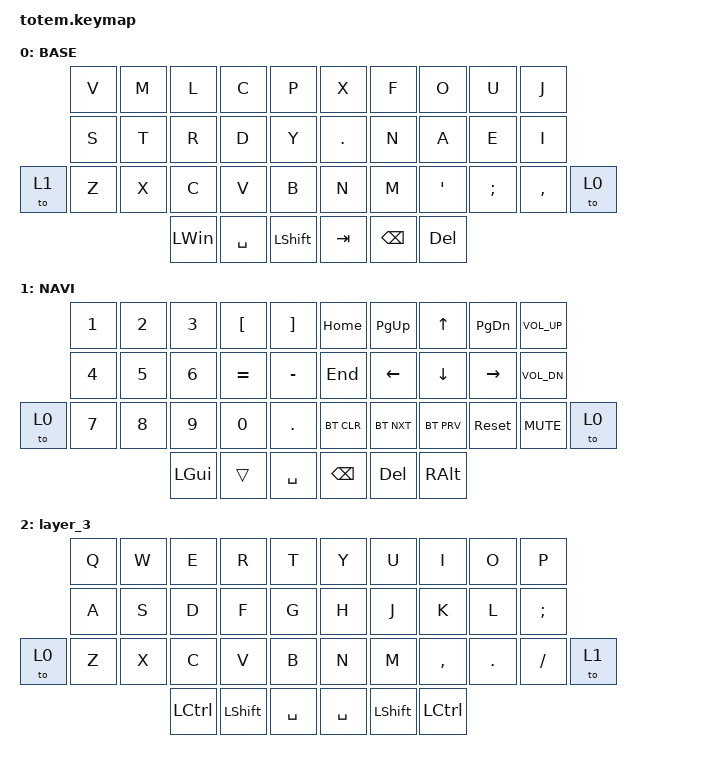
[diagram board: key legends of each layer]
//
//                                                        ▀▀▀▀▀     ▀▀▀▀▀          ▀▀█▀▀
//                                                        ▄▀▀▀▄  ▄  ▄▀▀▀▄  ▄  ▄▀▀▀▄  █  ▄▀▀▀▄
//                                                        █   █  █  █   █  █  █   █  █  █   █
//                                                         ▀▀▀   █   ▀▀▀   █   ▀▀▀   ▀   ▀▀▀
//                                                               █      ▄▄▄█▄▄▄    █   █  
//                                                               ▀      █  █  █     █▄█
//                                                             ▀▀▀▀▀    █  █  █      ▀
//                                                                      ▀  ▀  ▀
//
// ▄▄▄▄▄▄▄▄▄▄▄▄▄▄▄▄▄▄▄▄▄▄▄▄▄▄▄▄▄▄▄▄▄▄▄▄▄▄▄▄▄▄▄▄▄▄▄▄▄▄▄▄▄▄▄▄▄▄▄▄▄▄▄▄▄▄▄▄▄▄▄▄▄▄▄▄▄▄▄▄▄▄▄▄▄▄▄▄▄▄▄▄▄▄▄▄▄▄▄▄▄▄▄▄▄▄▄▄▄▄▄▄▄▄▄▄▄▄▄▄▄▄▄▄▄▄▄▄▄▄▄▄▄▄▄▄▄▄▄▄▄▄▄▄▄▄▄▄▄

#include <behaviors.dtsi>
#include <dt-bindings/zmk/bt.h>
#include <dt-bindings/zmk/keys.h>

#define BASE 0
#define NAV  1
#define SYM  2
#define ADJ  3
#define TVP1 4
#define TVP2 5

/ {
    combos { compatible = "zmk,combos"; };

    keymap {
        compatible = "zmk,keymap";

        // ▄▄▄▄▄▄▄▄▄▄▄▄▄▄▄▄▄▄▄▄▄▄▄▄▄▄▄▄▄▄▄▄▄▄▄▄▄▄▄▄▄▄▄▄▄▄▄▄▄▄▄▄▄▄▄▄▄▄▄▄▄▄▄▄▄▄▄▄▄▄▄▄▄▄▄▄▄▄▄▄▄▄▄▄▄▄▄▄▄▄▄▄▄▄▄▄▄▄▄▄▄▄▄▄▄▄▄▄▄▄▄▄▄▄▄▄▄▄▄▄▄▄▄▄▄▄▄▄▄▄▄▄▄▄▄▄▄▄▄▄▄▄▄▄▄▄▄▄▄

        base_layer {
            // ┏━━━━━━━━━━━━━━━━━━━━━━━━━━━━━━━━━━━━━━━┓

            label = "BASE";

            // ┗━━━━━━━━━━━━━━━━━━━━━━━━━━━━━━━━━━━━━━━┛
            //             ┏━━━━━━━━━━━┳━━━━━━━━━━━┳━━━━━━━━━━━┳━━━━━━━━━━━┳━━━━━━━━━━━┓   ┏━━━━━━━━━━━┳━━━━━━━━━━━┳━━━━━━━━━━━┳━━━━━━━━━━━┳━━━━━━━━━━━┓
            //             ┃     Q     ┃     W     ┃     F     ┃     P     ┃     G     ┃   ┃     J     ┃     L     ┃     U     ┃     Y     ┃     ;     ┃
            //             ┣━━━━━━━━━━━╋━━━━━━━━━━━╋━━━━━━━━━━━╋━━━━━━━━━━━╋━━━━━━━━━━━┫   ┣━━━━━━━━━━━╋━━━━━━━━━━━╋━━━━━━━━━━━╋━━━━━━━━━━━╋━━━━━━━━━━━┫
            //             ┃     A     ┃     R     ┃     S     ┃     T     ┃     D     ┃   ┃     H     ┃     N     ┃     E     ┃     I     ┃     O     ┃
            // ┏━━━━━━━━━━━╋━━━━━━━━━━━╋━━━━━━━━━━━╋━━━━━━━━━━━╋━━━━━━━━━━━╋━━━━━━━━━━━┫   ┣━━━━━━━━━━━╋━━━━━━━━━━━╋━━━━━━━━━━━╋━━━━━━━━━━━╋━━━━━━━━━━━╋━━━━━━━━━━━┓
            // ┃     Q     ┃     Z     ┃     X     ┃     C     ┃     V     ┃     B     ┃   ┃     K     ┃     M     ┃     ,     ┃     .     ┃     /     ┃     \     ┃
            // ┗━━━━━━━━━━━┻━━━━━━━━━━━┻━━━━━━━━━━━╋━━━━━━━━━━━╋━━━━━━━━━━━╋━━━━━━━━━━━┫   ┣━━━━━━━━━━━╋━━━━━━━━━━━╋━━━━━━━━━━━╋━━━━━━━━━━━┻━━━━━━━━━━━┻━━━━━━━━━━━┛
            //                                     ┃    DEL    ┃    TAB    ┃    SPC    ┃   ┃   ENTER   ┃           ┃   BSPC    ┃
            //                                     ┗━━━━━━━━━━━┻━━━━━━━━━━━┻━━━━━━━━━━━┛   ┗━━━━━━━━━━━┻━━━━━━━━━━━┻━━━━━━━━━━━┛

            bindings = <
       &kp V  &kp M  &kp L     &kp C      &kp P           &kp X       &kp F          &kp O    &kp U     &kp J
       &kp S  &kp T  &kp R     &kp D      &kp Y           &kp PERIOD  &kp N          &kp A    &kp E     &kp I
&to 1  &kp Z  &kp X  &kp C     &kp V      &kp B           &kp N       &kp M          &kp SQT  &kp SEMI  &kp COMMA  &to 0
                     &kp LWIN  &kp SPACE  &kp LEFT_SHIFT  &kp TAB     &kp BACKSPACE  &kp DEL
            >;
        };

        // ▄▄▄▄▄▄▄▄▄▄▄▄▄▄▄▄▄▄▄▄▄▄▄▄▄▄▄▄▄▄▄▄▄▄▄▄▄▄▄▄▄▄▄▄▄▄▄▄▄▄▄▄▄▄▄▄▄▄▄▄▄▄▄▄▄▄▄▄▄▄▄▄▄▄▄▄▄▄▄▄▄▄▄▄▄▄▄▄▄▄▄▄▄▄▄▄▄▄▄▄▄▄▄▄▄▄▄▄▄▄▄▄▄▄▄▄▄▄▄▄▄▄▄▄▄▄▄▄▄▄▄▄▄▄▄▄▄▄▄▄▄▄▄▄▄▄▄▄▄

        nav_layer {
            // ┏━━━━━━━━━━━━━━━━━━━━━━━━━━━━━━━━━━━━━━━┓

            label = "NAVI";

            // ┗━━━━━━━━━━━━━━━━━━━━━━━━━━━━━━━━━━━━━━━┛
            //             ┏━━━━━━━━━━━┳━━━━━━━━━━━┳━━━━━━━━━━━┳━━━━━━━━━━━┳━━━━━━━━━━━┓   ┏━━━━━━━━━━━┳━━━━━━━━━━━┳━━━━━━━━━━━┳━━━━━━━━━━━┳━━━━━━━━━━━┓
            //             ┃           ┃           ┃     UP    ┃           ┃     {     ┃   ┃     }     ┃     7     ┃     8     ┃     9     ┃     +     ┃
            //             ┣━━━━━━━━━━━╋━━━━━━━━━━━╋━━━━━━━━━━━╋━━━━━━━━━━━╋━━━━━━━━━━━┫   ┣━━━━━━━━━━━╋━━━━━━━━━━━╋━━━━━━━━━━━╋━━━━━━━━━━━╋━━━━━━━━━━━┫
            //             ┃   SHIFT   ┃   LEFT    ┃    DOWN   ┃   RIGHT   ┃     [     ┃   ┃     ]     ┃     4     ┃     5     ┃     6     ┃     -     ┃
            // ┏━━━━━━━━━━━╋━━━━━━━━━━━╋━━━━━━━━━━━╋━━━━━━━━━━━╋━━━━━━━━━━━╋━━━━━━━━━━━┫   ┣━━━━━━━━━━━╋━━━━━━━━━━━╋━━━━━━━━━━━╋━━━━━━━━━━━╋━━━━━━━━━━━╋━━━━━━━━━━━┓
            // ┃           ┃           ┃   P UP    ┃  C LOCK   ┃  P DOWN   ┃     (     ┃   ┃     )     ┃     1     ┃     2     ┃     3     ┃     *     ┃           ┃
            // ┗━━━━━━━━━━━┻━━━━━━━━━━━┻━━━━━━━━━━━╋━━━━━━━━━━━╋━━━━━━━━━━━╋━━━━━━━━━━━┫   ┣━━━━━━━━━━━╋━━━━━━━━━━━╋━━━━━━━━━━━╋━━━━━━━━━━━┻━━━━━━━━━━━┻━━━━━━━━━━━┛
            //                                     ┃           ┃    TAB    ┃    SPC    ┃   ┃    DEL    ┃     0     ┃           ┃
            //                                     ┗━━━━━━━━━━━┻━━━━━━━━━━━┻━━━━━━━━━━━┛   ┗━━━━━━━━━━━┻━━━━━━━━━━━┻━━━━━━━━━━━┛

            bindings = <
       &kp NUMBER_1  &kp NUMBER_2  &kp NUMBER_3  &kp LEFT_BRACKET  &kp RIGHT_BRACKET  &kp HOME       &kp PAGE_UP     &kp UP_ARROW    &kp PAGE_DOWN    &kp C_VOL_UP
       &kp NUMBER_4  &kp NUMBER_5  &kp NUMBER_6  &kp EQUAL         &kp MINUS          &kp END        &kp LEFT_ARROW  &kp DOWN_ARROW  &kp RIGHT_ARROW  &kp C_VOL_DN
&to 0  &kp NUMBER_7  &kp NUMBER_8  &kp NUMBER_9  &kp NUMBER_0      &kp PERIOD         &bt BT_CLR     &bt BT_NXT      &bt BT_PRV      &sys_reset       &kp C_MUTE    &to 0
                                   &kp LGUI      &trans            &kp SPACE          &kp BACKSPACE  &kp DELETE      &kp RALT
            >;
        };

        layer_3 {
            bindings = <
       &kp Q  &kp W  &kp E      &kp R      &kp T      &kp Y      &kp U      &kp I      &kp O    &kp P
       &kp A  &kp S  &kp D      &kp F      &kp G      &kp H      &kp J      &kp K      &kp L    &kp SEMI
&to 0  &kp Z  &kp X  &kp C      &kp V      &kp B      &kp N      &kp M      &kp COMMA  &kp DOT  &kp FSLH  &to 1
                     &kp LCTRL  &kp LSHFT  &kp SPACE  &kp SPACE  &kp LSHFT  &kp LCTRL
            >;
        };

        // ▄▄▄▄▄▄▄▄▄▄▄▄▄▄▄▄▄▄▄▄▄▄▄▄▄▄▄▄▄▄▄▄▄▄▄▄▄▄▄▄▄▄▄▄▄▄▄▄▄▄▄▄▄▄▄▄▄▄▄▄▄▄▄▄▄▄▄▄▄▄▄▄▄▄▄▄▄▄▄▄▄▄▄▄▄▄▄▄▄▄▄▄▄▄▄▄▄▄▄▄▄▄▄▄▄▄▄▄▄▄▄▄▄▄▄▄▄▄▄▄▄▄▄▄▄▄▄▄▄▄▄▄▄▄▄▄▄▄▄▄▄▄▄▄▄▄▄▄▄
        // ▄▄▄▄▄▄▄▄▄▄▄▄▄▄▄▄▄▄▄▄▄▄▄▄▄▄▄▄▄▄▄▄▄▄▄▄▄▄▄▄▄▄▄▄▄▄▄▄▄▄▄▄▄▄▄▄▄▄▄▄▄▄▄▄▄▄▄▄▄▄▄▄▄▄▄▄▄▄▄▄▄▄▄▄▄▄▄▄▄▄▄▄▄▄▄▄▄▄▄▄▄▄▄▄▄▄▄▄▄▄▄▄▄▄▄▄▄▄▄▄▄▄▄▄▄▄▄▄▄▄▄▄▄▄▄▄▄▄▄▄▄▄▄▄▄▄▄▄▄
        // ▄▄▄▄▄▄▄▄▄▄▄▄▄▄▄▄▄▄▄▄▄▄▄▄▄▄▄▄▄▄▄▄▄▄▄▄▄▄▄▄▄▄▄▄▄▄▄▄▄▄▄▄▄▄▄▄▄▄▄▄▄▄▄▄▄▄▄▄▄▄▄▄▄▄▄▄▄▄▄▄▄▄▄▄▄▄▄▄▄▄▄▄▄▄▄▄▄▄▄▄▄▄▄▄▄▄▄▄▄▄▄▄▄▄▄▄▄▄▄▄▄▄▄▄▄▄▄▄▄▄▄▄▄▄▄▄▄▄▄▄▄▄▄▄▄▄▄▄▄
        // ▄▄▄▄▄▄▄▄▄▄▄▄▄▄▄▄▄▄▄▄▄▄▄▄▄▄▄▄▄▄▄▄▄▄▄▄▄▄▄▄▄▄▄▄▄▄▄▄▄▄▄▄▄▄▄▄▄▄▄▄▄▄▄▄▄▄▄▄▄▄▄▄▄▄▄▄▄▄▄▄▄▄▄▄▄▄▄▄▄▄▄▄▄▄▄▄▄▄▄▄▄▄▄▄▄▄▄▄▄▄▄▄▄▄▄▄▄▄▄▄▄▄▄▄▄▄▄▄▄▄▄▄▄▄▄▄▄▄▄▄▄▄▄▄▄▄▄▄▄
    };
};
